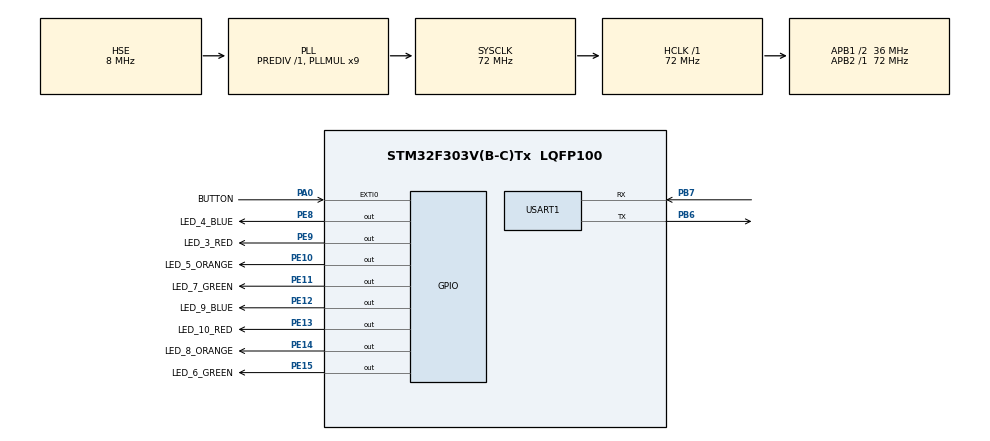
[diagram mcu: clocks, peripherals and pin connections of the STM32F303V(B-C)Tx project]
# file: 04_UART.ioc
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Dma.Request0=USART1_TX
Dma.Request1=USART1_RX
Dma.USART1_RX.1.Direction=DMA_PERIPH_TO_MEMORY
Dma.USART1_RX.1.Instance=DMA1_Channel5
Dma.USART1_RX.1.MemDataAlignment=DMA_MDATAALIGN_BYTE
Dma.USART1_RX.1.MemInc=DMA_MINC_ENABLE
Dma.USART1_RX.1.Mode=DMA_NORMAL
Dma.USART1_RX.1.PeriphDataAlignment=DMA_PDATAALIGN_BYTE
Dma.USART1_RX.1.PeriphInc=DMA_PINC_DISABLE
Dma.USART1_RX.1.Priority=DMA_PRIORITY_LOW
Dma.USART1_TX.0.Direction=DMA_MEMORY_TO_PERIPH
Dma.USART1_TX.0.Instance=DMA1_Channel4
Dma.USART1_TX.0.MemDataAlignment=DMA_MDATAALIGN_BYTE
Dma.USART1_TX.0.MemInc=DMA_MINC_ENABLE
Dma.USART1_TX.0.Mode=DMA_NORMAL
Dma.USART1_TX.0.PeriphDataAlignment=DMA_PDATAALIGN_BYTE
Dma.USART1_TX.0.PeriphInc=DMA_PINC_DISABLE
Dma.USART1_TX.0.Priority=DMA_PRIORITY_LOW
Mcu.Family=STM32F3
Mcu.Name=STM32F303V(B-C)Tx
Mcu.Package=LQFP100
NVIC.DMA1_Channel4_IRQn=true\:0\:0\:false\:false\:true\:false
NVIC.DMA1_Channel5_IRQn=true\:0\:0\:false\:false\:true\:false
NVIC.EXTI0_IRQn=true\:0\:0\:false\:false\:true\:true
NVIC.PriorityGroup=NVIC_PRIORITYGROUP_4
NVIC.TIM3_IRQn=true\:0\:0\:false\:false\:true\:true
NVIC.USART1_IRQn=true\:0\:0\:false\:false\:true\:true
PA0.GPIO_Label=BUTTON
PA0.GPIO_ModeDefaultEXTI=GPIO_MODE_IT_RISING
PA0.Signal=GPXTI0
PB6.Mode=Asynchronous
PB6.Signal=USART1_TX
PB7.Mode=Asynchronous
PB7.Signal=USART1_RX
PE10.GPIO_Label=LED_5_ORANGE
PE10.Signal=GPIO_Output
PE11.GPIO_Label=LED_7_GREEN
PE11.Signal=GPIO_Output
PE12.GPIO_Label=LED_9_BLUE
PE12.Signal=GPIO_Output
PE13.GPIO_Label=LED_10_RED
PE13.Signal=GPIO_Output
PE14.GPIO_Label=LED_8_ORANGE
PE14.Signal=GPIO_Output
PE15.GPIO_Label=LED_6_GREEN
PE15.Signal=GPIO_Output
PE8.GPIO_Label=LED_4_BLUE
PE8.Signal=GPIO_Output
PE9.GPIO_Label=LED_3_RED
PE9.Signal=GPIO_Output
PF0-OSC_IN.Mode=HSE-External-Oscillator
PF0-OSC_IN.Signal=RCC_OSC_IN
PF1-OSC_OUT.Mode=HSE-External-Oscillator
PF1-OSC_OUT.Signal=RCC_OSC_OUT
ProjectManager.HeapSize=0x200
ProjectManager.StackSize=0x400
ProjectManager.TargetToolchain=SW4STM32
RCC.AHBFreq_Value=72000000
RCC.APB1CLKDivider=RCC_HCLK_DIV2
RCC.APB1Freq_Value=36000000
RCC.APB1TimFreq_Value=72000000
RCC.APB2Freq_Value=72000000
RCC.APB2TimFreq_Value=72000000
RCC.CortexFreq_Value=72000000
RCC.HCLKFreq_Value=72000000
RCC.HSE_VALUE=8000000
RCC.HSI_VALUE=8000000
RCC.LSE_VALUE=32768
RCC.PLLMUL=RCC_PLL_MUL9
RCC.PLLSourceVirtual=RCC_PLLSOURCE_HSE
RCC.SYSCLKFreq_VALUE=72000000
RCC.SYSCLKSourceVirtual=RCC_SYSCLKSOURCE_PLLCLK
RCC.USBFreq_Value=72000000
TIM3.Period=179
TIM3.Prescaler=9999
USART1.VirtualMode-Asynchronous=VM_ASYNC
VP_TIM3_VS_ClockSourceINT.Mode=Internal
board=04_UART

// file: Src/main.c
/**
  ******************************************************************************
  * @file           : main.c
  * @brief          : Main program body
  ******************************************************************************
  ** This notice applies to any and all portions of this file
  * that are not between comment pairs USER CODE BEGIN and
  * USER CODE END. Other portions of this file, whether
  * inserted by the user or by software development tools
  * are owned by their respective copyright owners.
  *
  * COPYRIGHT(c) 2018 STMicroelectronics
  *
  * Redistribution and use in source and binary forms, with or without modification,
  * are permitted provided that the following conditions are met:
  *   1. Redistributions of source code must retain the above copyright notice,
  *      this list of conditions and the following disclaimer.
  *   2. Redistributions in binary form must reproduce the above copyright notice,
  *      this list of conditions and the following disclaimer in the documentation
  *      and/or other materials provided with the distribution.
  *   3. Neither the name of STMicroelectronics nor the names of its contributors
  *      may be used to endorse or promote products derived from this software
  *      without specific prior written permission.
  *
  * THIS SOFTWARE IS PROVIDED BY THE COPYRIGHT HOLDERS AND CONTRIBUTORS "AS IS"
  * AND ANY EXPRESS OR IMPLIED WARRANTIES, INCLUDING, BUT NOT LIMITED TO, THE
  * IMPLIED WARRANTIES OF MERCHANTABILITY AND FITNESS FOR A PARTICULAR PURPOSE ARE
  * DISCLAIMED. IN NO EVENT SHALL THE COPYRIGHT HOLDER OR CONTRIBUTORS BE LIABLE
  * FOR ANY DIRECT, INDIRECT, INCIDENTAL, SPECIAL, EXEMPLARY, OR CONSEQUENTIAL
  * DAMAGES (INCLUDING, BUT NOT LIMITED TO, PROCUREMENT OF SUBSTITUTE GOODS OR
  * SERVICES; LOSS OF USE, DATA, OR PROFITS; OR BUSINESS INTERRUPTION) HOWEVER
  * CAUSED AND ON ANY THEORY OF LIABILITY, WHETHER IN CONTRACT, STRICT LIABILITY,
  * OR TORT (INCLUDING NEGLIGENCE OR OTHERWISE) ARISING IN ANY WAY OUT OF THE USE
  * OF THIS SOFTWARE, EVEN IF ADVISED OF THE POSSIBILITY OF SUCH DAMAGE.
  *
  ******************************************************************************
  */
#include "main.h"
#include "stm32f3xx_hal.h"

TIM_HandleTypeDef htim3;

UART_HandleTypeDef huart1;
DMA_HandleTypeDef hdma_usart1_tx;
DMA_HandleTypeDef hdma_usart1_rx;

/* USER CODE BEGIN PV */
/* Private variables ---------------------------------------------------------*/
typedef enum
{
  LED3 = 0,
  LED4 = 1,
  LED5 = 2,
  LED6 = 3,
  LED7 = 4,
  LED8 = 5,
  LED9 = 6,
  LED10 = 7
} Led_TypeDef;

#define LEDn 8

uint16_t GPIO_PIN[LEDn] = {LED_3_RED_Pin, LED_4_BLUE_Pin, LED_5_ORANGE_Pin, LED_6_GREEN_Pin,
		LED_7_GREEN_Pin, LED_8_ORANGE_Pin, LED_9_BLUE_Pin, LED_10_RED_Pin};

GPIO_TypeDef* GPIO_PORT[LEDn] = {LED_3_RED_GPIO_Port, LED_4_BLUE_GPIO_Port, LED_5_ORANGE_GPIO_Port,
                                 LED_6_GREEN_GPIO_Port, LED_7_GREEN_GPIO_Port, LED_8_ORANGE_GPIO_Port,
                                 LED_9_BLUE_GPIO_Port, LED_10_RED_GPIO_Port };
uint8_t LED_SEQ[LEDn] = {LED3, LED5, LED7, LED9, LED10, LED8, LED6, LED4};

uint8_t Received[10];
/* USER CODE END PV */

void SystemClock_Config(void);
static void MX_GPIO_Init(void);
static void MX_DMA_Init(void);
static void MX_TIM3_Init(void);
static void MX_USART1_UART_Init(void);

/* USER CODE BEGIN PFP */
/* Private function prototypes -----------------------------------------------*/
//void HAL_TIM_PeriodElapsedCallback(TIM_HandleTypeDef *htim)
//{
//	 if(htim->Instance == TIM3)
//	 {
//		static uint8_t wyslij_diody = 1;
//		const uint8_t wyslij_dane_maks = 40;
//		static uint8_t wyslij_dane = wyslij_dane_maks;
//
//		if(wyslij_dane) wyslij_dane--;
//		else
//		{
//			 static uint16_t cnt = 0; // Licznik wyslanych wiadomosci
//			 uint8_t data[50];// Tablica przechowujaca wysylana wiadomosc.
//			 uint16_t size = 0; // Rozmiar wysylanej wiadomosci ++cnt; // Zwiekszenie licznika wyslanych wiadomosci.
//
//			 ++cnt; // Zwiekszenie licznika wyslanych wiadomosci.
//			 size = sprintf(data, "Liczba wyslanych wiadomosci: %d.\n\r", cnt); // Stworzenie wiadomosci do wyslania oraz przypisanie ilosci wysylanych znakow do zmiennej size.
//			 HAL_UART_Transmit_IT(&huart1, data, size); // Rozpoczecie nadawania danych z wykorzystaniem przerwan
//
//			 wyslij_diody = 1;
//			 wyslij_dane = wyslij_dane_maks;
//		}
//
//		if(wyslij_diody)
//		{
//			static uint8_t indeks = 0;
//			static uint8_t zapal = 1;
//
//			if(zapal) HAL_GPIO_WritePin(GPIO_PORT[LED_SEQ[indeks]], GPIO_PIN[LED_SEQ[indeks]], GPIO_PIN_SET);
//			else HAL_GPIO_WritePin(GPIO_PORT[LED_SEQ[indeks]], GPIO_PIN[LED_SEQ[indeks]], GPIO_PIN_RESET);
//
//			if(++indeks >= LEDn)
//			{
//				indeks = 0;
//				if(zapal) zapal = 0;
//				else
//				{
//					zapal = 1;
//					wyslij_diody = 0;
//				}
//			}
//		}
//	 }
//}

void HAL_UART_RxCpltCallback(UART_HandleTypeDef *huart) {
// uint8_t Data[50]; // Tablica przechowujaca wysylana wiadomosc.
// uint16_t size = 0; // Rozmiar wysylanej wiadomosci
//
// // Odebrany znak zostaje przekonwertowany na liczbe calkowita i sprawdzony
// // instrukcja warunkowa
// switch (atoi(&Received)) {
//
// case 0: // Jezeli odebrany zostanie znak 0
// size = sprintf(Data, "STOP\n\r");
// HAL_GPIO_WritePin(LED_10_RED_GPIO_Port, LED_10_RED_Pin, GPIO_PIN_RESET);
// break;
//
// case 1: // Jezeli odebrany zostanie znak 1
// size = sprintf(Data, "START\n\r");
// HAL_GPIO_WritePin(LED_10_RED_GPIO_Port, LED_10_RED_Pin, GPIO_PIN_SET);
// break;
//
// default: // Jezeli odebrano nieobslugiwany znak
// size = sprintf(Data, "Odebrano nieznany znak: %c\n\r", Received);
// break;
// }
//
// HAL_UART_Transmit_IT(&huart1, Data, size); // Rozpoczecie nadawania danych z wykorzystaniem przerwan
// HAL_UART_Receive_IT(&huart1, &Received, 1); // Ponowne w³¹czenie nas³uchiwania

//	 uint8_t Data[40]; // Tablica przechowujaca wysylana wiadomosc.
//	 uint16_t size = 0; // Rozmiar wysylanej wiadomosci
//
//	 size = sprintf(Data, "Odebrana wiadomosc: %s\n\r",Received);
//
//	 HAL_UART_Transmit_IT(&huart1, Data, size); // Rozpoczecie nadawania danych z wykorzystaniem przerwan
//	 HAL_UART_Receive_IT(&huart1, Received, 10); // Ponowne w³¹czenie nas³uchiwania
//	 HAL_GPIO_TogglePin(LED_10_RED_GPIO_Port, LED_10_RED_Pin);

	static uint8_t Data[40]; // Tablica przechowujaca wysylana wiadomosc.

	 sprintf(Data, "Odebrana wiadomosc: %s\n\r", Received);
	 HAL_UART_Transmit_DMA(&huart1, Data, 40); // Rozpoczecie nadawania danych z wykorzystaniem przerwan
	 HAL_UART_Receive_DMA(&huart1, Received, 10); // Ponowne w³¹czenie nas³uchiwania
	 HAL_GPIO_TogglePin(LED_10_RED_GPIO_Port, LED_10_RED_Pin);
}
/* USER CODE END PFP */

int main(void)
{

  /* MCU Configuration----------------------------------------------------------*/

  /* Reset of all peripherals, Initializes the Flash interface and the Systick. */
  HAL_Init();

  /* Configure the system clock */
  SystemClock_Config();

  /* Initialize all configured peripherals */
  MX_GPIO_Init();
  MX_DMA_Init();
  MX_TIM3_Init();
  MX_USART1_UART_Init();
  /* USER CODE BEGIN 2 */
  HAL_TIM_Base_Start_IT(&htim3);
  //HAL_UART_Receive_IT(&huart1,&Received, 10);
  HAL_UART_Receive_DMA(&huart1, Received, 10); // Rozpoczecie nasluchiwania na dane z wykorzystaniem DMA
  /* USER CODE END 2 */

  /* Infinite loop */
  while (1)
  {

  }

}

void SystemClock_Config(void)
{

  RCC_OscInitTypeDef RCC_OscInitStruct;
  RCC_ClkInitTypeDef RCC_ClkInitStruct;
  RCC_PeriphCLKInitTypeDef PeriphClkInit;

    /**Initializes the CPU, AHB and APB busses clocks
    */
  RCC_OscInitStruct.OscillatorType = RCC_OSCILLATORTYPE_HSE;
  RCC_OscInitStruct.HSEState = RCC_HSE_ON;
  RCC_OscInitStruct.HSEPredivValue = RCC_HSE_PREDIV_DIV1;
  RCC_OscInitStruct.HSIState = RCC_HSI_ON;
  RCC_OscInitStruct.PLL.PLLState = RCC_PLL_ON;
  RCC_OscInitStruct.PLL.PLLSource = RCC_PLLSOURCE_HSE;
  RCC_OscInitStruct.PLL.PLLMUL = RCC_PLL_MUL9;
  if (HAL_RCC_OscConfig(&RCC_OscInitStruct) != HAL_OK)
  {
    _Error_Handler(__FILE__, __LINE__);
  }

    /**Initializes the CPU, AHB and APB busses clocks
    */
  RCC_ClkInitStruct.ClockType = RCC_CLOCKTYPE_HCLK|RCC_CLOCKTYPE_SYSCLK
                              |RCC_CLOCKTYPE_PCLK1|RCC_CLOCKTYPE_PCLK2;
  RCC_ClkInitStruct.SYSCLKSource = RCC_SYSCLKSOURCE_PLLCLK;
  RCC_ClkInitStruct.AHBCLKDivider = RCC_SYSCLK_DIV1;
  RCC_ClkInitStruct.APB1CLKDivider = RCC_HCLK_DIV2;
  RCC_ClkInitStruct.APB2CLKDivider = RCC_HCLK_DIV1;

  if (HAL_RCC_ClockConfig(&RCC_ClkInitStruct, FLASH_LATENCY_2) != HAL_OK)
  {
    _Error_Handler(__FILE__, __LINE__);
  }

  PeriphClkInit.PeriphClockSelection = RCC_PERIPHCLK_USART1;
  PeriphClkInit.Usart1ClockSelection = RCC_USART1CLKSOURCE_PCLK2;
  if (HAL_RCCEx_PeriphCLKConfig(&PeriphClkInit) != HAL_OK)
  {
    _Error_Handler(__FILE__, __LINE__);
  }

    /**Configure the Systick interrupt time
    */
  HAL_SYSTICK_Config(HAL_RCC_GetHCLKFreq()/1000);

    /**Configure the Systick
    */
  HAL_SYSTICK_CLKSourceConfig(SYSTICK_CLKSOURCE_HCLK);

  /* SysTick_IRQn interrupt configuration */
  HAL_NVIC_SetPriority(SysTick_IRQn, 0, 0);
}

/* TIM3 init function */
static void MX_TIM3_Init(void)
{

  TIM_ClockConfigTypeDef sClockSourceConfig;
  TIM_MasterConfigTypeDef sMasterConfig;

  htim3.Instance = TIM3;
  htim3.Init.Prescaler = 9999;
  htim3.Init.CounterMode = TIM_COUNTERMODE_UP;
  htim3.Init.Period = 179;
  htim3.Init.ClockDivision = TIM_CLOCKDIVISION_DIV1;
  htim3.Init.AutoReloadPreload = TIM_AUTORELOAD_PRELOAD_DISABLE;
  if (HAL_TIM_Base_Init(&htim3) != HAL_OK)
  {
    _Error_Handler(__FILE__, __LINE__);
  }

  sClockSourceConfig.ClockSource = TIM_CLOCKSOURCE_INTERNAL;
  if (HAL_TIM_ConfigClockSource(&htim3, &sClockSourceConfig) != HAL_OK)
  {
    _Error_Handler(__FILE__, __LINE__);
  }

  sMasterConfig.MasterOutputTrigger = TIM_TRGO_RESET;
  sMasterConfig.MasterSlaveMode = TIM_MASTERSLAVEMODE_DISABLE;
  if (HAL_TIMEx_MasterConfigSynchronization(&htim3, &sMasterConfig) != HAL_OK)
  {
    _Error_Handler(__FILE__, __LINE__);
  }

}

/* USART1 init function */
static void MX_USART1_UART_Init(void)
{

  huart1.Instance = USART1;
  huart1.Init.BaudRate = 38400;
  huart1.Init.WordLength = UART_WORDLENGTH_8B;
  huart1.Init.StopBits = UART_STOPBITS_1;
  huart1.Init.Parity = UART_PARITY_NONE;
  huart1.Init.Mode = UART_MODE_TX_RX;
  huart1.Init.HwFlowCtl = UART_HWCONTROL_NONE;
  huart1.Init.OverSampling = UART_OVERSAMPLING_16;
  huart1.Init.OneBitSampling = UART_ONE_BIT_SAMPLE_DISABLE;
  huart1.AdvancedInit.AdvFeatureInit = UART_ADVFEATURE_NO_INIT;
  if (HAL_UART_Init(&huart1) != HAL_OK)
  {
    _Error_Handler(__FILE__, __LINE__);
  }

}

static void MX_DMA_Init(void)
{
  /* DMA controller clock enable */
  __HAL_RCC_DMA1_CLK_ENABLE();

  /* DMA interrupt init */
  /* DMA1_Channel4_IRQn interrupt configuration */
  HAL_NVIC_SetPriority(DMA1_Channel4_IRQn, 0, 0);
  HAL_NVIC_EnableIRQ(DMA1_Channel4_IRQn);
  /* DMA1_Channel5_IRQn interrupt configuration */
  HAL_NVIC_SetPriority(DMA1_Channel5_IRQn, 0, 0);
  HAL_NVIC_EnableIRQ(DMA1_Channel5_IRQn);

}

/** Configure pins as
        * Analog
        * Input
        * Output
        * EVENT_OUT
        * EXTI
*/
static void MX_GPIO_Init(void)
{

  GPIO_InitTypeDef GPIO_InitStruct;

  /* GPIO Ports Clock Enable */
  __HAL_RCC_GPIOF_CLK_ENABLE();
  __HAL_RCC_GPIOA_CLK_ENABLE();
  __HAL_RCC_GPIOE_CLK_ENABLE();
  __HAL_RCC_GPIOB_CLK_ENABLE();

  /*Configure GPIO pin Output Level */
  HAL_GPIO_WritePin(GPIOE, LED_4_BLUE_Pin|LED_3_RED_Pin|LED_5_ORANGE_Pin|LED_7_GREEN_Pin
                          |LED_9_BLUE_Pin|LED_10_RED_Pin|LED_8_ORANGE_Pin|LED_6_GREEN_Pin, GPIO_PIN_RESET);

  /*Configure GPIO pin : BUTTON_Pin */
  GPIO_InitStruct.Pin = BUTTON_Pin;
  GPIO_InitStruct.Mode = GPIO_MODE_IT_RISING;
  GPIO_InitStruct.Pull = GPIO_NOPULL;
  HAL_GPIO_Init(BUTTON_GPIO_Port, &GPIO_InitStruct);

  /*Configure GPIO pins : LED_4_BLUE_Pin LED_3_RED_Pin LED_5_ORANGE_Pin LED_7_GREEN_Pin
                           LED_9_BLUE_Pin LED_10_RED_Pin LED_8_ORANGE_Pin LED_6_GREEN_Pin */
  GPIO_InitStruct.Pin = LED_4_BLUE_Pin|LED_3_RED_Pin|LED_5_ORANGE_Pin|LED_7_GREEN_Pin
                          |LED_9_BLUE_Pin|LED_10_RED_Pin|LED_8_ORANGE_Pin|LED_6_GREEN_Pin;
  GPIO_InitStruct.Mode = GPIO_MODE_OUTPUT_PP;
  GPIO_InitStruct.Pull = GPIO_NOPULL;
  GPIO_InitStruct.Speed = GPIO_SPEED_FREQ_LOW;
  HAL_GPIO_Init(GPIOE, &GPIO_InitStruct);

  /* EXTI interrupt init*/
  HAL_NVIC_SetPriority(EXTI0_IRQn, 0, 0);
  HAL_NVIC_EnableIRQ(EXTI0_IRQn);

}

void _Error_Handler(char *file, int line)
{
  while(1)
  {
  }
}

/************************ (C) COPYRIGHT STMicroelectronics *****END OF FILE****/
